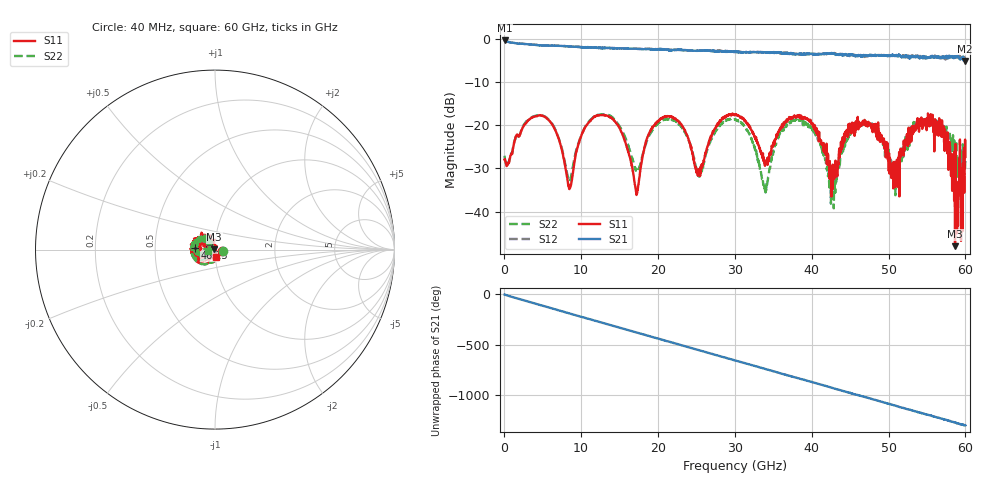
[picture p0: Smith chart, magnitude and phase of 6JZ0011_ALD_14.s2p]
! File created by 'SoftPlot +Plus+ Measurement Management Software'
! SoftPlot +Plus+ Measurement Management Software
! Start 40.000000 MHz  Stop 60.000000 GHz  Points 1601
# MHZ S RI R 50
! S-Parameter data, F S11 S21 S12 S22
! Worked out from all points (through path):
!   1601 points, 40 MHz to 60 GHz, reference 50 ohm
!   highest |S21| = -0.39 dB at 40 MHz (marker M1); lowest = -5.1 dB at 59.93 GHz (marker M2)
!   group delay of S21, straight-line fit = 59.8 ps
!   lowest |S11| = -48.0 dB at 58.65 GHz (marker M3), VSWR 1.01, Z = 49.6 + j0.107 ohm
!   |S11| at or under -10 dB: start of sweep to end of sweep
!   |S22| runs from -39.3 to -17.5 dB; largest |S21 - S12| = 0.058
!   S11 on the Smith chart (normalised r, x): 40 MHz: 1.08, -0.01; 46.13 GHz: 0.80, +0.01; 60 GHz: 1.00, -0.09
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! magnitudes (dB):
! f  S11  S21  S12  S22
! 40 MHz  -28.0  -0.4  -0.4  -27.1
! 4.949 GHz  -17.8  -1.5  -1.5  -17.8
! 8.547 GHz  -34.5  -1.8  -1.8  -32.8
! 10.05 GHz  -22.3  -2.0  -1.9  -22.3
! 14.21 GHz  -18.8  -2.2  -2.2  -18.5
! 17.2 GHz  -36.2  -2.3  -2.3  -30.4
! 20.05 GHz  -19.0  -2.5  -2.4  -19.6
! 22.94 GHz  -19.6  -2.5  -2.6  -20.1
! 25.26 GHz  -31.6  -2.8  -2.8  -31.6
! 30.02 GHz  -17.5  -3.0  -2.9  -18.6
! 33.92 GHz  -29.4  -3.2  -3.1  -34.5
! 36.35 GHz  -19.4  -3.3  -3.4  -21.2
! 40.03 GHz  -19.5  -3.5  -3.5  -20.6
! 42.76 GHz  -34.7  -3.3  -3.5  -32.3
! 46.13 GHz  -19.2  -3.9  -3.9  -19.6
! 50.03 GHz  -30.6  -3.9  -3.9  -27.8
! 51.12 GHz  -33.8  -4.0  -4.0  -31.9
! 55.43 GHz  -17.9  -4.3  -4.3  -18.3
! 57.71 GHz  -21.7  -4.6  -4.4  -22.9
! 58.65 GHz  -48.0  -4.4  -4.1  -24.6
! 59.93 GHz  -26.9  -5.1  -4.7  -29.8
! 60 GHz  -27.3  -4.7  -4.4  -27.8
